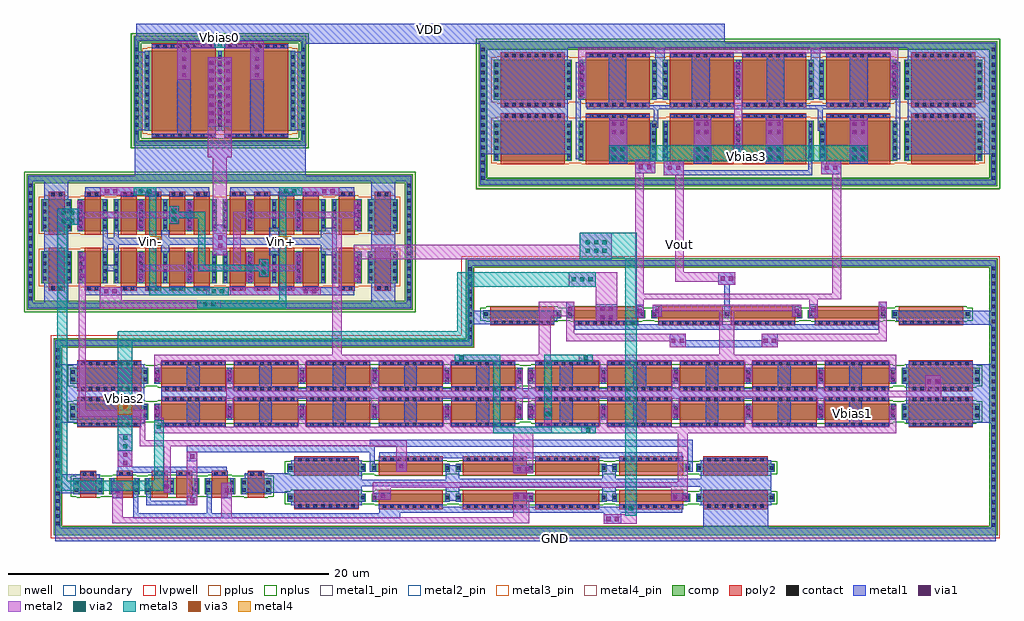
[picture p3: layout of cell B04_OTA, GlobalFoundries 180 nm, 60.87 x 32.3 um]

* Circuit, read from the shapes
.subckt B04_OTA GND VDD Vbias0 Vbias1 Vbias2 Vbias3 Vin+ Vin- Vout
XM1 GND GND GND GND nfet_03v3 w=1u l=4u m=4
XM2 GND GND GND GND nfet_03v3 w=1u l=1u m=2
XM3 n1 Vbias2 n2 GND nfet_03v3 w=1u l=1u m=2
XM4 n3 Vbias2 n4 GND nfet_03v3 w=1u l=1u m=2
XM5 GND Vbias1 n5 GND nfet_03v3 w=1u l=4u m=10
XM6 GND Vbias1 n6 GND nfet_03v3 w=1u l=4u m=10
XM7 GND GND GND GND nfet_03v3 w=0.5u l=4u m=6
XM8 GND n1 n6 GND nfet_03v3 w=0.5u l=4u m=2
XM9 GND n3 n4 GND nfet_03v3 w=0.5u l=4u m=2
XM10 n2 n1 GND GND nfet_03v3 w=0.5u l=4u m=2
XM11 n5 n3 GND GND nfet_03v3 w=0.5u l=4u m=2
XM12 n7 Vbias2 n6 GND nfet_03v3 w=0.5u l=4u m=2
XM13 Vout Vbias2 n5 GND nfet_03v3 w=0.5u l=4u m=2
XM14 VDD VDD VDD VDD pfet_03v3 w=2u l=1u m=4
XM15 n8 Vin+ n3 VDD pfet_03v3 w=2u l=1u
XM16 n8 Vin- n5 VDD pfet_03v3 w=2u l=1u m=9
XM17 n6 Vin+ n8 VDD pfet_03v3 w=2u l=1u m=9
XM18 n8 Vbias0 VDD VDD pfet_03v3 w=5u l=4u m=2
XM19 n1 Vin- n8 VDD pfet_03v3 w=2u l=1u
XM20 VDD VDD VDD VDD pfet_03v3 w=2.5u l=4u m=4
XM21 n7 Vbias3 n9 VDD pfet_03v3 w=2.5u l=4u m=2
XM22 VDD n7 n9 VDD pfet_03v3 w=2.5u l=4u m=2
XM23 n10 Vbias3 Vout VDD pfet_03v3 w=2.5u l=4u m=2
XM24 n10 n7 VDD VDD pfet_03v3 w=2.5u l=4u m=2
.ends

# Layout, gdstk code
import gdstk
lib = gdstk.Library(unit=1e-6, precision=1e-09)
def R(c, l, rs):  # rectangles x0, y0, x1, y1
    for r in rs: c.add(gdstk.rectangle(r[:2], r[2:], *l))
def A(c, l, x, y, w, h, nx, ny, dx, dy):  # array of equal rectangles
    R(c, l, [(x+i*dx, y+j*dy, x+i*dx+w, y+j*dy+h) for i in range(nx) for j in range(ny)])
boundary = (0, 0)
nwell = (21, 0)
comp = (22, 0)
poly2 = (30, 0)
pplus = (31, 0)
nplus = (32, 0)
contact = (33, 0)
metal1 = (34, 0)
metal1_pin = (34, 10)
via1 = (35, 0)
metal2 = (36, 0)
metal2_pin = (36, 10)
via2 = (38, 0)
via3 = (40, 0)
metal3 = (42, 0)
metal3_pin = (42, 10)
metal4 = (46, 0)
metal4_pin = (46, 10)
lvpwell = (204, 0)

nfet_03v3_ppzgc5 = lib.new_cell('nfet_03v3_PPZGC5')
R(nfet_03v3_ppzgc5, comp, [(-2.44,-0.13,2.44,0.37)])
R(nfet_03v3_ppzgc5, poly2, [(-2,-0.59,2,0.59)])
R(nfet_03v3_ppzgc5, nplus, [(-2.23,-0.36,2.23,-0.29), (-2.6,-0.29,2.6,0.53), (-2.23,0.53,2.23,0.6)])
A(nfet_03v3_ppzgc5, contact, -1.755, -0.52, 0.22, 0.22, 8, 1, 0.47, 0)
R(nfet_03v3_ppzgc5, contact, [(-2.37,0.01,-2.15,0.23), (2.15,0.01,2.37,0.23)])
R(nfet_03v3_ppzgc5, metal1, [(-1.99,-0.525,1.99,-0.295), (-2.375,-0.12,-2.145,0.36), (2.145,-0.12,2.375,0.36)])
R(nfet_03v3_ppzgc5, lvpwell, [(-2.56,-0.71,2.56,0.71)])

nfet_03v3_2m8gy8 = lib.new_cell('nfet_03v3_2M8GY8')
R(nfet_03v3_2m8gy8, comp, [(-2.44,-0.37,2.44,0.13)])
R(nfet_03v3_2m8gy8, poly2, [(-2,-0.59,2,0.59)])
R(nfet_03v3_2m8gy8, nplus, [(-2.23,-0.6,2.23,-0.53), (-2.6,-0.53,2.6,0.29), (-2.23,0.29,2.23,0.36)])
A(nfet_03v3_2m8gy8, contact, -1.755, 0.3, 0.22, 0.22, 8, 1, 0.47, 0)
R(nfet_03v3_2m8gy8, contact, [(-2.37,-0.23,-2.15,-0.01), (2.15,-0.23,2.37,-0.01)])
R(nfet_03v3_2m8gy8, metal1, [(-2.375,-0.36,-2.145,0.12), (2.145,-0.36,2.375,0.12), (-1.99,0.295,1.99,0.525)])
R(nfet_03v3_2m8gy8, lvpwell, [(-2.56,-0.71,2.56,0.71)])

nfet_03v3_vm6bb4 = lib.new_cell('nfet_03v3_VM6BB4')
R(nfet_03v3_vm6bb4, comp, [(-0.94,-0.62,0.94,0.38)])
R(nfet_03v3_vm6bb4, poly2, [(-0.5,-0.84,0.5,0.84)])
R(nfet_03v3_vm6bb4, nplus, [(-0.73,-0.85,0.73,-0.78), (-1.1,-0.78,1.1,0.54), (-0.73,0.54,0.73,0.61)])
R(nfet_03v3_vm6bb4, contact, [(-0.87,-0.465,-0.65,-0.245), (0.65,-0.465,0.87,-0.245), (-0.87,0.005,-0.65,0.225), (0.65,0.005,0.87,0.225), (-0.345,0.55,-0.125,0.77), (0.125,0.55,0.345,0.77)])
R(nfet_03v3_vm6bb4, metal1, [(-0.875,-0.61,-0.645,0.37), (0.645,-0.61,0.875,0.37), (-0.49,0.545,0.49,0.775)])
R(nfet_03v3_vm6bb4, lvpwell, [(-1.06,-0.96,1.06,0.96)])

nfet_03v3_g6pham = lib.new_cell('nfet_03v3_G6PHAM')
R(nfet_03v3_g6pham, comp, [(-1.7,-0.62,1.7,0.38)])
R(nfet_03v3_g6pham, poly2, [(-1.26,-0.84,-0.26,0.84), (0.26,-0.84,1.26,0.84)])
R(nfet_03v3_g6pham, nplus, [(-1.49,-0.85,1.49,-0.78), (-1.86,-0.78,1.86,0.54), (-1.49,0.54,1.49,0.61)])
A(nfet_03v3_g6pham, contact, -1.63, -0.465, 0.22, 0.22, 3, 2, 1.52, 0.47)
R(nfet_03v3_g6pham, contact, [(-1.105,0.55,-0.885,0.77), (-0.635,0.55,-0.415,0.77), (0.415,0.55,0.635,0.77), (0.885,0.55,1.105,0.77)])
A(nfet_03v3_g6pham, metal1, -1.635, -0.61, 0.23, 0.98, 3, 1, 1.52, 0)
R(nfet_03v3_g6pham, metal1, [(-1.25,0.545,-0.27,0.775), (0.27,0.545,1.25,0.775)])
R(nfet_03v3_g6pham, lvpwell, [(-1.82,-0.96,1.82,0.96)])

nfet_03v3_9bm8l2 = lib.new_cell('nfet_03v3_9BM8L2')
R(nfet_03v3_9bm8l2, comp, [(-11.48,-0.5,11.48,0.5)])
A(nfet_03v3_9bm8l2, poly2, -11.04, -0.96, 4, 1.92, 5, 1, 4.52, 0)
R(nfet_03v3_9bm8l2, nplus, [(-11.27,-0.73,11.27,-0.66), (-11.64,-0.66,11.64,0.66), (-11.27,0.66,11.27,0.73)])
A(nfet_03v3_9bm8l2, contact, -10.795, -0.89, 0.22, 0.22, 8, 2, 0.47, 1.56)
A(nfet_03v3_9bm8l2, contact, -6.275, -0.89, 0.22, 0.22, 8, 2, 0.47, 1.56)
A(nfet_03v3_9bm8l2, contact, -1.755, -0.89, 0.22, 0.22, 8, 2, 0.47, 1.56)
A(nfet_03v3_9bm8l2, contact, 2.765, -0.89, 0.22, 0.22, 8, 2, 0.47, 1.56)
A(nfet_03v3_9bm8l2, contact, 7.285, -0.89, 0.22, 0.22, 8, 2, 0.47, 1.56)
A(nfet_03v3_9bm8l2, contact, -11.41, -0.345, 0.22, 0.22, 6, 2, 4.52, 0.47)
A(nfet_03v3_9bm8l2, metal1, -11.03, -0.895, 3.98, 0.23, 5, 2, 4.52, 1.56)
A(nfet_03v3_9bm8l2, metal1, -11.415, -0.49, 0.23, 0.98, 6, 1, 4.52, 0)
R(nfet_03v3_9bm8l2, lvpwell, [(-11.6,-1.08,11.6,1.08)])

nfet_03v3_yszrfl = lib.new_cell('nfet_03v3_YSZRFL')
R(nfet_03v3_yszrfl, comp, [(-2.44,-0.5,2.44,0.5)])
R(nfet_03v3_yszrfl, poly2, [(-2,-0.96,2,0.96)])
R(nfet_03v3_yszrfl, nplus, [(-2.23,-0.73,2.23,-0.66), (-2.6,-0.66,2.6,0.66), (-2.23,0.66,2.23,0.73)])
A(nfet_03v3_yszrfl, contact, -1.755, -0.89, 0.22, 0.22, 8, 2, 0.47, 1.56)
R(nfet_03v3_yszrfl, contact, [(-2.37,-0.345,-2.15,-0.125), (2.15,-0.345,2.37,-0.125), (-2.37,0.125,-2.15,0.345), (2.15,0.125,2.37,0.345)])
R(nfet_03v3_yszrfl, metal1, [(-1.99,-0.895,1.99,-0.665), (-2.375,-0.49,-2.145,0.49), (2.145,-0.49,2.375,0.49), (-1.99,0.665,1.99,0.895)])
R(nfet_03v3_yszrfl, lvpwell, [(-2.56,-1.08,2.56,1.08)])

nfet_03v3_5x72ug = lib.new_cell('nfet_03v3_5X72UG')
R(nfet_03v3_5x72ug, comp, [(-4.7,-0.13,4.7,0.37)])
R(nfet_03v3_5x72ug, poly2, [(-4.26,-0.59,-0.26,0.59), (0.26,-0.59,4.26,0.59)])
R(nfet_03v3_5x72ug, nplus, [(-4.49,-0.36,4.49,-0.29), (-4.86,-0.29,4.86,0.53), (-4.49,0.53,4.49,0.6)])
A(nfet_03v3_5x72ug, contact, -4.015, -0.52, 0.22, 0.22, 8, 1, 0.47, 0)
A(nfet_03v3_5x72ug, contact, 0.505, -0.52, 0.22, 0.22, 8, 1, 0.47, 0)
A(nfet_03v3_5x72ug, contact, -4.63, 0.01, 0.22, 0.22, 3, 1, 4.52, 0)
A(nfet_03v3_5x72ug, metal1, -4.635, -0.12, 0.23, 0.48, 3, 1, 4.52, 0)
R(nfet_03v3_5x72ug, metal1, [(-4.25,-0.525,-0.27,-0.295), (0.27,-0.525,4.25,-0.295)])
R(nfet_03v3_5x72ug, lvpwell, [(-4.82,-0.71,4.82,0.71)])

nfet_03v3_vdkk2u = lib.new_cell('nfet_03v3_VDKK2U')
R(nfet_03v3_vdkk2u, comp, [(-4.7,-0.37,4.7,0.13)])
R(nfet_03v3_vdkk2u, poly2, [(-4.26,-0.59,-0.26,0.59), (0.26,-0.59,4.26,0.59)])
R(nfet_03v3_vdkk2u, nplus, [(-4.49,-0.6,4.49,-0.53), (-4.86,-0.53,4.86,0.29), (-4.49,0.29,4.49,0.36)])
A(nfet_03v3_vdkk2u, contact, -4.63, -0.23, 0.22, 0.22, 3, 1, 4.52, 0)
A(nfet_03v3_vdkk2u, contact, -4.015, 0.3, 0.22, 0.22, 8, 1, 0.47, 0)
A(nfet_03v3_vdkk2u, contact, 0.505, 0.3, 0.22, 0.22, 8, 1, 0.47, 0)
A(nfet_03v3_vdkk2u, metal1, -4.635, -0.36, 0.23, 0.48, 3, 1, 4.52, 0)
R(nfet_03v3_vdkk2u, metal1, [(-4.25,0.295,-0.27,0.525), (0.27,0.295,4.25,0.525)])
R(nfet_03v3_vdkk2u, lvpwell, [(-4.82,-0.71,4.82,0.71)])

pfet_03v3_3rycv3 = lib.new_cell('pfet_03v3_3RYCV3')
R(pfet_03v3_3rycv3, nwell, [(-1.37,-1.77,1.37,1.77)])
R(pfet_03v3_3rycv3, comp, [(-0.94,-0.88,0.94,1.12)])
R(pfet_03v3_3rycv3, poly2, [(-0.5,-1.34,0.5,1.34)])
R(pfet_03v3_3rycv3, pplus, [(-0.73,-1.11,0.73,-1.04), (-1.1,-1.04,1.1,1.28), (-0.73,1.28,0.73,1.35)])
A(pfet_03v3_3rycv3, contact, -0.87, -0.695, 0.22, 0.22, 1, 4, 0, 0.47)
A(pfet_03v3_3rycv3, contact, 0.65, -0.695, 0.22, 0.22, 1, 4, 0, 0.47)
R(pfet_03v3_3rycv3, contact, [(-0.345,-1.27,-0.125,-1.05), (0.125,-1.27,0.345,-1.05)])
R(pfet_03v3_3rycv3, metal1, [(-0.49,-1.275,0.49,-1.045), (-0.875,-0.87,-0.645,1.11), (0.645,-0.87,0.875,1.11)])

pfet_03v3_7bhpbh = lib.new_cell('pfet_03v3_7BHPBH')
R(pfet_03v3_7bhpbh, nwell, [(-3.65,-1.77,3.65,1.77)])
R(pfet_03v3_7bhpbh, comp, [(-3.22,-0.88,3.22,1.12)])
A(pfet_03v3_7bhpbh, poly2, -2.78, -1.34, 1, 2.68, 4, 1, 1.52, 0)
R(pfet_03v3_7bhpbh, pplus, [(-3.01,-1.11,3.01,-1.04), (-3.38,-1.04,3.38,1.28), (-3.01,1.28,3.01,1.35)])
A(pfet_03v3_7bhpbh, contact, -3.15, -0.695, 0.22, 0.22, 5, 4, 1.52, 0.47)
R(pfet_03v3_7bhpbh, contact, [(-2.625,-1.27,-2.405,-1.05), (-2.155,-1.27,-1.935,-1.05), (-1.105,-1.27,-0.885,-1.05), (-0.635,-1.27,-0.415,-1.05), (0.415,-1.27,0.635,-1.05), (0.885,-1.27,1.105,-1.05), (1.935,-1.27,2.155,-1.05), (2.405,-1.27,2.625,-1.05)])
A(pfet_03v3_7bhpbh, metal1, -2.77, -1.275, 0.98, 0.23, 4, 1, 1.52, 0)
A(pfet_03v3_7bhpbh, metal1, -3.155, -0.87, 0.23, 1.98, 5, 1, 1.52, 0)

pfet_03v3_luvhy6 = lib.new_cell('pfet_03v3_LUVHY6')
R(pfet_03v3_luvhy6, nwell, [(-1.37,-1.77,1.37,1.77)])
R(pfet_03v3_luvhy6, comp, [(-0.94,-1.12,0.94,0.88)])
R(pfet_03v3_luvhy6, poly2, [(-0.5,-1.34,0.5,1.34)])
R(pfet_03v3_luvhy6, pplus, [(-0.73,-1.35,0.73,-1.28), (-1.1,-1.28,1.1,1.04), (-0.73,1.04,0.73,1.11)])
A(pfet_03v3_luvhy6, contact, -0.87, -0.935, 0.22, 0.22, 1, 4, 0, 0.47)
A(pfet_03v3_luvhy6, contact, 0.65, -0.935, 0.22, 0.22, 1, 4, 0, 0.47)
R(pfet_03v3_luvhy6, contact, [(-0.345,1.05,-0.125,1.27), (0.125,1.05,0.345,1.27)])
R(pfet_03v3_luvhy6, metal1, [(-0.875,-1.11,-0.645,0.87), (0.645,-1.11,0.875,0.87), (-0.49,1.045,0.49,1.275)])

pfet_03v3_zcvgy6 = lib.new_cell('pfet_03v3_ZCVGY6')
R(pfet_03v3_zcvgy6, nwell, [(-3.65,-1.77,3.65,1.77)])
R(pfet_03v3_zcvgy6, comp, [(-3.22,-1.12,3.22,0.88)])
A(pfet_03v3_zcvgy6, poly2, -2.78, -1.34, 1, 2.68, 4, 1, 1.52, 0)
R(pfet_03v3_zcvgy6, pplus, [(-3.01,-1.35,3.01,-1.28), (-3.38,-1.28,3.38,1.04), (-3.01,1.04,3.01,1.11)])
A(pfet_03v3_zcvgy6, contact, -3.15, -0.935, 0.22, 0.22, 5, 4, 1.52, 0.47)
R(pfet_03v3_zcvgy6, contact, [(-2.625,1.05,-2.405,1.27), (-2.155,1.05,-1.935,1.27), (-1.105,1.05,-0.885,1.27), (-0.635,1.05,-0.415,1.27), (0.415,1.05,0.635,1.27), (0.885,1.05,1.105,1.27), (1.935,1.05,2.155,1.27), (2.405,1.05,2.625,1.27)])
A(pfet_03v3_zcvgy6, metal1, -3.155, -1.11, 0.23, 1.98, 5, 1, 1.52, 0)
A(pfet_03v3_zcvgy6, metal1, -2.77, 1.045, 0.98, 0.23, 4, 1, 1.52, 0)

pfet_03v3_e72zaa = lib.new_cell('pfet_03v3_E72ZAA')
R(pfet_03v3_e72zaa, nwell, [(-2.87,-2.02,2.87,2.02)])
R(pfet_03v3_e72zaa, comp, [(-2.44,-1.37,2.44,1.13)])
R(pfet_03v3_e72zaa, poly2, [(-2,-1.59,2,1.59)])
R(pfet_03v3_e72zaa, pplus, [(-2.23,-1.6,2.23,-1.53), (-2.6,-1.53,2.6,1.29), (-2.23,1.29,2.23,1.36)])
A(pfet_03v3_e72zaa, contact, -2.37, -1.17, 0.22, 0.22, 1, 5, 0, 0.47)
A(pfet_03v3_e72zaa, contact, 2.15, -1.17, 0.22, 0.22, 1, 5, 0, 0.47)
A(pfet_03v3_e72zaa, contact, -1.755, 1.3, 0.22, 0.22, 8, 1, 0.47, 0)
R(pfet_03v3_e72zaa, metal1, [(-2.375,-1.36,-2.145,1.12), (2.145,-1.36,2.375,1.12), (-1.99,1.295,1.99,1.525)])

pfet_03v3_mw6kh8 = lib.new_cell('pfet_03v3_MW6KH8')
R(pfet_03v3_mw6kh8, nwell, [(-5.13,-2.02,5.13,2.02)])
R(pfet_03v3_mw6kh8, comp, [(-4.7,-1.37,4.7,1.13)])
R(pfet_03v3_mw6kh8, poly2, [(-4.26,-1.59,-0.26,1.59), (0.26,-1.59,4.26,1.59)])
R(pfet_03v3_mw6kh8, pplus, [(-4.49,-1.6,4.49,-1.53), (-4.86,-1.53,4.86,1.29), (-4.49,1.29,4.49,1.36)])
A(pfet_03v3_mw6kh8, contact, -4.63, -1.17, 0.22, 0.22, 3, 5, 4.52, 0.47)
A(pfet_03v3_mw6kh8, contact, -4.015, 1.3, 0.22, 0.22, 8, 1, 0.47, 0)
A(pfet_03v3_mw6kh8, contact, 0.505, 1.3, 0.22, 0.22, 8, 1, 0.47, 0)
A(pfet_03v3_mw6kh8, metal1, -4.635, -1.36, 0.23, 2.48, 3, 1, 4.52, 0)
R(pfet_03v3_mw6kh8, metal1, [(-4.25,1.295,-0.27,1.525), (0.27,1.295,4.25,1.525)])

pfet_03v3_4cd8mr = lib.new_cell('pfet_03v3_4CD8MR')
R(pfet_03v3_4cd8mr, boundary, [(-5.21,-3.25,5.21,3.25)])
R(pfet_03v3_4cd8mr, nwell, [(-5.51,-3.55,5.51,3.55)])
R(pfet_03v3_4cd8mr, comp, [(-5.39,-3.43,5.39,-3.07), (-5.39,-3.07,-5.03,3.07), (5.03,-3.07,5.39,3.07), (-4.7,-2.5,4.7,2.5), (-5.39,3.07,5.39,3.43)])
R(pfet_03v3_4cd8mr, poly2, [(-4.26,-2.96,-0.26,2.96), (0.26,-2.96,4.26,2.96)])
R(pfet_03v3_4cd8mr, pplus, [(-4.49,-2.73,4.49,-2.66), (-4.86,-2.66,4.86,2.66), (-4.49,2.66,4.49,2.73)])
R(pfet_03v3_4cd8mr, nplus, [(-5.55,-3.59,5.55,-2.96), (-5.55,-2.96,-4.92,2.96), (4.92,-2.96,5.55,2.96), (-5.55,2.96,5.55,3.59)])
A(pfet_03v3_4cd8mr, contact, -4.015, -2.89, 0.22, 0.22, 8, 2, 0.47, 5.56)
A(pfet_03v3_4cd8mr, contact, 0.505, -2.89, 0.22, 0.22, 8, 2, 0.47, 5.56)
A(pfet_03v3_4cd8mr, contact, -5.32, -2.695, 0.22, 0.22, 1, 12, 0, 0.47)
A(pfet_03v3_4cd8mr, contact, 5.1, -2.695, 0.22, 0.22, 1, 12, 0, 0.47)
A(pfet_03v3_4cd8mr, contact, -4.63, -2.225, 0.22, 0.22, 3, 10, 4.52, 0.47)
A(pfet_03v3_4cd8mr, metal1, -4.635, -2.49, 0.23, 4.98, 3, 1, 4.52, 0)
R(pfet_03v3_4cd8mr, metal1, [(-5.325,-3.365,5.325,-3.135), (-5.325,-3.135,-5.095,3.135), (5.095,-3.135,5.325,3.135), (-4.25,-2.895,-0.27,-2.665), (0.27,-2.895,4.25,-2.665), (-4.25,2.665,-0.27,2.895), (0.27,2.665,4.25,2.895), (-5.325,3.135,5.325,3.365)])

pfet_03v3_yeehvg = lib.new_cell('pfet_03v3_YEEHVG')
R(pfet_03v3_yeehvg, nwell, [(-2.87,-2.14,2.87,2.14)])
R(pfet_03v3_yeehvg, comp, [(-2.44,-1.25,2.44,1.25)])
R(pfet_03v3_yeehvg, poly2, [(-2,-1.71,2,1.71)])
R(pfet_03v3_yeehvg, pplus, [(-2.23,-1.48,2.23,-1.41), (-2.6,-1.41,2.6,1.41), (-2.23,1.41,2.23,1.48)])
A(pfet_03v3_yeehvg, contact, -1.755, -1.64, 0.22, 0.22, 8, 2, 0.47, 3.06)
A(pfet_03v3_yeehvg, contact, -2.37, -1.05, 0.22, 0.22, 1, 5, 0, 0.47)
A(pfet_03v3_yeehvg, contact, 2.15, -1.05, 0.22, 0.22, 1, 5, 0, 0.47)
R(pfet_03v3_yeehvg, metal1, [(-1.99,-1.645,1.99,-1.415), (-2.375,-1.24,-2.145,1.24), (2.145,-1.24,2.375,1.24), (-1.99,1.415,1.99,1.645)])

pfet_03v3_t4493g = lib.new_cell('pfet_03v3_T4493G')
R(pfet_03v3_t4493g, nwell, [(-5.13,-2.14,5.13,2.14)])
R(pfet_03v3_t4493g, comp, [(-4.7,-1.25,4.7,1.25)])
R(pfet_03v3_t4493g, poly2, [(-4.26,-1.71,-0.26,1.71), (0.26,-1.71,4.26,1.71)])
R(pfet_03v3_t4493g, pplus, [(-4.49,-1.48,4.49,-1.41), (-4.86,-1.41,4.86,1.41), (-4.49,1.41,4.49,1.48)])
A(pfet_03v3_t4493g, contact, -4.015, -1.64, 0.22, 0.22, 8, 2, 0.47, 3.06)
A(pfet_03v3_t4493g, contact, 0.505, -1.64, 0.22, 0.22, 8, 2, 0.47, 3.06)
A(pfet_03v3_t4493g, contact, -4.63, -1.05, 0.22, 0.22, 3, 5, 4.52, 0.47)
A(pfet_03v3_t4493g, metal1, -4.635, -1.24, 0.23, 2.48, 3, 1, 4.52, 0)
R(pfet_03v3_t4493g, metal1, [(-4.25,-1.645,-0.27,-1.415), (0.27,-1.645,4.25,-1.415), (-4.25,1.415,-0.27,1.645), (0.27,1.415,4.25,1.645)])

b04_ota = lib.new_cell('B04_OTA')
R(b04_ota, nwell, [(-0.3,-12.2,24.1,-3.45), (27.85,-4.55,60.55,4.85), (16.9,-1.15,16.965,5.15)])
R(b04_ota, comp, [(1.55,-26.1,60.4,-25.55), (1.55,-25.55,2.05,-14.4), (59.9,-25.55,60.4,-9.4), (1.55,-14.4,27.75,-13.85), (27.25,-13.85,27.75,-9.4), (-0.15,-12.05,23.95,-11.5), (-0.15,-11.5,0.35,-4.15), (23.45,-11.5,23.95,-4.15), (27.25,-9.4,60.4,-8.85), (28.05,-4.35,60.4,-3.85), (-0.15,-4.15,23.95,-3.6), (28.05,-3.85,28.55,4.2), (59.9,-3.85,60.4,4.2), (28.05,4.2,60.4,4.7)])
R(b04_ota, pplus, [(1.53,-26.12,60.42,-25.53), (1.53,-25.53,2.07,-14.42), (59.88,-25.53,60.42,-9.42), (1.53,-14.42,27.77,-13.83), (27.23,-13.83,27.77,-9.42), (2.82,-10.57,2.87,-8.25), (5.07,-10.57,5.12,-8.25), (11.88,-10.57,11.92,-8.25), (18.68,-10.57,18.72,-8.25), (20.92,-10.57,20.97,-8.25), (27.23,-9.42,60.42,-8.83), (5.07,-7.315,5.12,-4.995), (2.82,-7.31,2.87,-4.995), (11.88,-7.31,11.92,-4.995), (18.68,-7.31,18.72,-4.99), (20.92,-7.31,20.97,-4.99), (34.02,-2.91,34.12,-0.09), (39.32,-2.91,39.37,-0.09), (49.09,-2.91,49.12,-0.09), (54.32,-2.91,54.42,-0.09), (34.02,0.88,34.12,3.7), (39.32,0.88,39.37,3.7), (49.09,0.88,49.12,3.7), (54.32,0.88,54.42,3.7)])
R(b04_ota, nplus, [(21.16,-24.18,21.21,-23.36), (26.41,-24.18,26.46,-23.36), (36.18,-24.18,36.21,-23.36), (41.41,-24.18,41.46,-23.36), (4.81,-23.72,4.86,-22.4), (10.78,-23.72,10.81,-22.4), (13.01,-23.72,13.06,-22.4), (21.16,-22.32,21.21,-21.5), (26.41,-22.32,26.46,-21.5), (36.18,-22.32,36.21,-21.5), (41.41,-22.32,41.46,-21.5), (7.61,-19.08,7.66,-17.76), (30.94,-19.08,30.96,-17.76), (54.24,-19.08,54.26,-17.76), (7.61,-16.83,7.66,-15.51), (30.94,-16.83,30.96,-15.51), (54.24,-16.83,54.26,-15.51), (33.36,-12.73,33.41,-11.91), (38.61,-12.73,38.66,-11.91), (48.38,-12.73,48.41,-11.91), (53.61,-12.73,53.66,-11.91), (-0.31,-12.21,24.11,-11.48), (-0.31,-11.48,0.37,-4.17), (23.43,-11.48,24.11,-4.17), (27.89,-4.51,60.56,-3.83), (-0.31,-4.17,24.11,-3.44), (27.89,-3.83,28.57,4.18), (59.88,-3.83,60.56,4.18), (27.89,4.18,60.56,4.86)])
A(b04_ota, contact, 60.04, -25.575, 0.22, 0.22, 1, 35, 0, 0.47)
A(b04_ota, contact, 1.69, -25.49, 0.22, 0.22, 1, 24, 0, 0.47)
A(b04_ota, contact, 27.39, -13.85, 0.22, 0.22, 1, 10, 0, 0.47)
A(b04_ota, contact, -0.01, -11.46, 0.22, 0.22, 1, 16, 0, 0.47)
A(b04_ota, contact, 23.59, -11.46, 0.22, 0.22, 1, 16, 0, 0.47)
A(b04_ota, contact, 28.19, -3.93, 0.22, 0.22, 1, 18, 0, 0.47)
A(b04_ota, contact, 60.04, -3.93, 0.22, 0.22, 1, 18, 0, 0.47)
A(b04_ota, metal1, 37.7, -19.25, 0.8, 1.65, 3, 1, 4.5, 0)
A(b04_ota, metal1, 7.8, -18.8, 0.45, 0.75, 3, 2, 4.5, 2.25)
A(b04_ota, metal1, 21.35, -18.8, 0.45, 0.75, 3, 2, 4.5, 2.25)
A(b04_ota, metal1, 44.65, -18.8, 0.45, 0.75, 3, 2, 4.5, 2.25)
A(b04_ota, metal1, 37.7, -16.95, 0.8, 1.6, 3, 1, 4.5, 0)
R(b04_ota, metal1, [(1.65,-26.5,60.3,-25.65), (1.65,-25.65,1.95,-23.5), (42.05,-25.65,46.1,-24.25), (60,-25.65,60.3,-19.1), (35.85,-25.4,36.95,-24.7), (6.5,-25.05,23.15,-24.75), (6.5,-24.75,6.8,-22.75), (11.1,-24.75,11.4,-22.75), (21.85,-24.75,23.15,-24.7), (21.85,-24.7,40.75,-24.35), (7.3,-24.25,10.5,-23.95), (16.35,-24.25,20.75,-23.6), (41.9,-24.25,46.3,-23.1), (7.3,-23.95,7.6,-23.05), (9.85,-23.95,10.5,-23.65), (26,-23.95,26.85,-23.1), (30.2,-23.95,31.45,-23.45), (35.75,-23.95,36.6,-23.1), (40.05,-23.95,41.1,-23.5), (21.45,-23.9,22.55,-23.45), (5.2,-23.8,5.85,-22.85), (12,-23.8,12.65,-22.85), (10.2,-23.65,10.5,-23.05), (16.15,-23.6,20.75,-23.45), (1.65,-23.5,4.4,-22.3), (8.4,-23.45,8.85,-22.7), (13.45,-23.45,20.75,-23.05), (26,-23.1,46.3,-23.05), (13.45,-23.05,46.3,-22.65), (13.45,-22.65,20.75,-22.25), (26,-22.65,46.3,-22.6), (26,-22.6,26.85,-21.75), (35.75,-22.6,36.6,-21.75), (41.9,-22.6,46.3,-21.45), (1.65,-22.3,1.95,-19.1), (16.15,-22.25,20.75,-22.1), (30.2,-22.25,31.45,-21.75), (5.55,-22.2,12.35,-21.85), (21.25,-22.15,21.55,-20.95), (22.9,-22.15,23.55,-21.3), (41.1,-22.15,41.4,-20.6), (16.35,-22.1,20.75,-21.45), (5.55,-21.85,6.45,-20.85), (9.85,-21.5,10.5,-20.95), (21.85,-21.3,40.75,-20.95), (9.85,-20.95,21.55,-20.6), (9.85,-20.6,41.4,-20.5), (21.25,-20.5,41.4,-20.15), (9.85,-19.25,10.65,-17.6), (14.35,-19.25,15.15,-17.6), (18.95,-19.25,19.75,-17.6), (23.4,-19.25,24.2,-17.6), (27.9,-19.25,28.7,-17.6), (33.1,-19.25,33.9,-17.6), (51.15,-19.25,51.95,-17.6), (1.65,-19.1,7.2,-15.45), (54.7,-19.1,60.3,-15.45), (31.15,-18.8,31.6,-18.05), (35.6,-18.8,36.05,-18.05), (40.1,-18.8,40.55,-18.05), (8.25,-17.6,53.6,-16.95), (9.85,-16.95,10.65,-15.35), (14.35,-16.95,15.15,-15.35), (18.95,-16.95,19.75,-15.35), (23.4,-16.95,24.2,-15.35), (27.9,-16.95,28.7,-15.35), (33.1,-16.95,33.9,-15.35), (51.15,-16.95,51.95,-15.35), (31.15,-16.55,31.6,-15.8), (35.6,-16.55,36.05,-15.8), (40.1,-16.55,40.55,-15.8), (1.65,-15.45,1.95,-14.3), (60,-15.45,60.3,-13), (39.95,-14.4,46.7,-13.95), (1.65,-14.3,27.65,-13.95), (27.35,-13.95,27.65,-12.95), (39.95,-13.95,40.95,-13.55), (45.7,-13.95,46.7,-13.55), (34.05,-13.3,53,-12.95), (58.15,-13,60.3,-12.75), (27.35,-12.95,29,-12.75), (35.35,-12.8,36.7,-11.7), (27.35,-12.75,32.95,-12.1), (54.1,-12.75,60.3,-12.1), (37.8,-12.5,38.35,-11.75), (38.9,-12.5,39.45,-11.75), (47.6,-12.5,48.15,-11.75), (48.65,-12.5,48.95,-12.45), (33.5,-12.45,34,-11.55), (43.35,-12.45,43.7,-10.5), (48.65,-12.45,49.2,-11.7), (53,-12.45,53.5,-11.55), (27.35,-12.1,27.65,-9.3), (60,-12.1,60.3,-9.3), (-0.05,-11.95,23.85,-11.6), (-0.05,-11.6,0.25,-4.05), (0.95,-11.6,2.45,-4.05), (21.35,-11.6,22.85,-4.05), (23.55,-11.6,23.85,-4.05), (3.5,-11.15,11.25,-10.65), (12.55,-11.15,20.3,-10.65), (43,-10.5,44.05,-9.7), (3.2,-10.3,3.55,-10.2), (6.75,-10.3,7.2,-8.5), (9.8,-10.3,10.25,-8.5), (13.55,-10.3,14,-8.5), (16.6,-10.3,17.05,-8.5), (20.25,-10.3,20.7,-8.5), (3.15,-10.2,3.55,-8.6), (4.8,-9.65,5.45,-9.25), (27.35,-9.3,60.3,-8.95), (11.45,-8.65,12.35,-8), (15,-8.65,15.65,-8), (18.4,-8.65,19.05,-8.45), (3.2,-8.6,3.55,-8.5), (4.6,-8.45,4.9,-8), (5.3,-8.45,5.6,-8), (8.25,-8.45,8.75,-8), (18.2,-8.45,19.2,-8), (4.6,-8,19.2,-7.55), (4.6,-7.55,4.9,-7.1), (5.3,-7.55,5.6,-7.1), (8.25,-7.55,8.75,-7.1), (11.45,-7.55,12.35,-6.75), (15,-7.55,15.65,-6.95), (18.2,-7.55,19.2,-7.1), (18.4,-7.1,19.05,-6.95), (3,-7.05,3.45,-5.25), (6.75,-7.05,7.2,-5.25), (9.8,-7.05,10.25,-5.25), (13.55,-7.05,14,-5.25), (16.6,-7.05,17.05,-5.25), (20.25,-7.05,20.7,-5.25), (4.75,-6.35,5.4,-5.95), (3.5,-4.9,11.25,-4.4), (12.55,-4.9,20.3,-4.4), (28.15,-4.25,60.3,-3.95), (-0.05,-4.05,23.85,-3.7), (28.15,-3.95,28.45,-2.35), (60,-3.95,60.3,-2.35), (6.6,-3.7,17.25,-1.7), (39.6,-3.65,48.85,-3.35), (49.4,-3.6,50.65,-2.8), (37.8,-3.55,39.05,-2.7), (39.6,-3.35,40.85,-2.8), (48.6,-3.35,48.85,-2.4), (36.2,-2.95,37.3,0), (41.45,-2.95,42.55,0), (45.95,-2.95,47.05,0), (51.2,-2.95,52.3,0), (39.6,-2.8,39.85,-2.45), (49.35,-2.8,50.65,-2.75), (49.35,-2.75,49.65,-0.9), (38.75,-2.7,39.05,-0.7), (34.1,-2.65,34.4,1.15), (44,-2.65,44.5,-0.4), (54.05,-2.65,54.35,1.15), (28.15,-2.35,33.6,4.3), (54.8,-2.35,60.3,4.3), (9.25,-1.25,10.1,4.45), (13.8,-1.25,14.65,4.45), (49.2,-0.9,49.65,-0.35), (6.65,-0.85,7.35,4.05), (16.4,-0.85,17.1,4.05), (38.75,-0.7,39.25,-0.4), (11.15,-0.65,12.65,3.7), (38.95,-0.4,39.25,0.45), (49.2,-0.35,49.5,0.45), (34.8,0.45,53.6,0.7), (41.35,0.7,42.45,3.8), (46,0.7,47.1,3.8), (36.15,0.75,37.25,3.85), (51.2,0.75,52.3,3.85), (39.05,1.1,39.65,4.3), (48.75,1.1,49.35,4.3), (34.1,1.15,34.75,3.4), (44,1.15,44.5,3.4), (53.7,1.15,54.35,3.4), (28.15,4.3,60.3,4.55), (17.1,4.55,60.3,4.6), (17.1,4.6,43.4,4.8), (6.7,4.8,43.4,5.8)])
R(b04_ota, metal1_pin, [(32.55,-26.45,33.15,-26.2), (51.3,-18.55,51.45,-18.45), (24.7,5.3,25.3,5.55)])
A(b04_ota, via1, 7.895, -18.555, 0.26, 0.26, 3, 2, 4.5, 2.25)
A(b04_ota, via1, 21.445, -18.555, 0.26, 0.26, 3, 2, 4.5, 2.25)
A(b04_ota, via1, 44.745, -18.555, 0.26, 0.26, 3, 2, 4.5, 2.25)
A(b04_ota, via1, 3.195, -10.05, 0.26, 0.26, 1, 3, 0, 0.52)
A(b04_ota, via1, 6.845, -10.05, 0.26, 0.26, 1, 3, 0, 0.52)
A(b04_ota, via1, 9.895, -10.05, 0.26, 0.26, 1, 3, 0, 0.52)
A(b04_ota, via1, 13.645, -10.05, 0.26, 0.26, 1, 3, 0, 0.52)
A(b04_ota, via1, 16.695, -10.05, 0.26, 0.26, 1, 3, 0, 0.52)
A(b04_ota, via1, 20.345, -10.05, 0.26, 0.26, 1, 3, 0, 0.52)
A(b04_ota, via1, 3.095, -6.8, 0.26, 0.26, 1, 3, 0, 0.52)
A(b04_ota, via1, 6.845, -6.8, 0.26, 0.26, 1, 3, 0, 0.52)
A(b04_ota, via1, 9.895, -6.8, 0.26, 0.26, 1, 3, 0, 0.52)
A(b04_ota, via1, 13.645, -6.8, 0.26, 0.26, 1, 3, 0, 0.52)
A(b04_ota, via1, 16.695, -6.8, 0.26, 0.26, 1, 3, 0, 0.52)
A(b04_ota, via1, 20.345, -6.8, 0.26, 0.26, 1, 3, 0, 0.52)
A(b04_ota, via1, 44.095, -2.46, 0.26, 0.26, 1, 4, 0, 0.52)
A(b04_ota, via1, 11.25, -0.425, 0.26, 0.26, 3, 8, 0.52, 0.52)
A(b04_ota, via1, 34.37, 1.34, 0.26, 0.26, 1, 4, 0, 0.52)
A(b04_ota, via1, 44.095, 1.39, 0.26, 0.26, 1, 4, 0, 0.52)
A(b04_ota, via1, 53.82, 1.39, 0.26, 0.26, 1, 4, 0, 0.52)
A(b04_ota, via1, 9.545, 2.44, 0.26, 0.26, 1, 4, 0, 0.52)
A(b04_ota, via1, 14.095, 2.44, 0.26, 0.26, 1, 4, 0, 0.52)
R(b04_ota, via1, [(36.01,-25.23,36.27,-24.97), (36.53,-25.23,36.79,-24.97), (10.045,-24.08,10.305,-23.82), (40.185,-23.855,40.445,-23.595), (40.705,-23.855,40.965,-23.595), (30.31,-23.83,30.57,-23.57), (30.83,-23.83,31.09,-23.57), (21.945,-23.805,22.205,-23.545), (5.395,-23.455,5.655,-23.195), (12.195,-23.455,12.455,-23.195), (8.47,-23.205,8.73,-22.945), (30.435,-22.13,30.695,-21.87), (30.955,-22.13,31.215,-21.87), (23.095,-21.93,23.355,-21.67), (5.87,-21.74,6.13,-21.48), (10.045,-21.33,10.305,-21.07), (5.87,-21.22,6.13,-20.96), (31.245,-18.555,31.505,-18.295), (35.695,-18.555,35.955,-18.295), (40.195,-18.555,40.455,-18.295), (56.01,-16.655,56.27,-16.395), (56.53,-16.655,56.79,-16.395), (31.245,-16.305,31.505,-16.045), (35.695,-16.305,35.955,-16.045), (40.195,-16.305,40.455,-16.045), (40.06,-14.105,40.32,-13.845), (40.58,-14.105,40.84,-13.845), (45.81,-14.105,46.07,-13.845), (46.33,-14.105,46.59,-13.845), (35.635,-12.64,35.895,-12.38), (36.155,-12.64,36.415,-12.38), (37.945,-12.255,38.205,-11.995), (39.045,-12.255,39.305,-11.995), (47.745,-12.255,48.005,-11.995), (48.795,-12.205,49.055,-11.945), (33.62,-12.13,33.88,-11.87), (53.12,-12.13,53.38,-11.87), (35.635,-12.12,35.895,-11.86), (36.155,-12.12,36.415,-11.86), (4.685,-11.03,4.945,-10.77), (5.205,-11.03,5.465,-10.77), (17.135,-11.03,17.395,-10.77), (17.655,-11.03,17.915,-10.77), (43.135,-10.23,43.395,-9.97), (43.655,-10.23,43.915,-9.97), (11.795,-8.19,12.055,-7.93), (11.795,-7.67,12.055,-7.41), (4.735,-4.78,4.995,-4.52), (5.255,-4.78,5.515,-4.52), (18.285,-4.78,18.545,-4.52), (18.805,-4.78,19.065,-4.52), (39.835,-3.33,40.095,-3.07), (40.355,-3.33,40.615,-3.07), (49.635,-3.33,49.895,-3.07), (50.155,-3.33,50.415,-3.07), (38.035,-3.28,38.295,-3.02), (38.555,-3.28,38.815,-3.02), (36.36,-1.09,36.62,-0.83), (36.88,-1.09,37.14,-0.83), (41.61,-1.09,41.87,-0.83), (42.13,-1.09,42.39,-0.83), (46.11,-1.09,46.37,-0.83), (46.63,-1.09,46.89,-0.83), (51.36,-1.09,51.62,-0.83), (51.88,-1.09,52.14,-0.83), (36.36,-0.57,36.62,-0.31), (36.88,-0.57,37.14,-0.31), (41.61,-0.57,41.87,-0.31), (42.13,-0.57,42.39,-0.31), (46.11,-0.57,46.37,-0.31), (46.63,-0.57,46.89,-0.31), (51.36,-0.57,51.62,-0.31), (51.88,-0.57,52.14,-0.31)])
R(b04_ota, metal2, [(35.85,-25.4,37.9,-24.8), (5.2,-25.35,31.2,-25), (5.2,-25,5.85,-22.85), (12,-25,12.65,-22.85), (30.2,-25,31.2,-23.95), (37.2,-24.8,37.9,-24), (9.85,-24.25,10.5,-20.9), (30.2,-23.95,31.45,-23.45), (40.05,-23.95,41.1,-23.15), (21.45,-23.9,22.55,-23.15), (8.4,-23.45,8.85,-20.55), (21.45,-23.15,41.1,-22.8), (40.45,-22.8,41.1,-19.75), (30.2,-22.25,31.45,-19.75), (22.9,-22.15,23.55,-20.55), (5.55,-21.85,6.45,-19.8), (6.9,-20.55,23.55,-20.2), (6.9,-20.2,7.25,-18.75), (7.8,-19.75,32.6,-19.35), (34.45,-19.75,54.1,-19.35), (7.8,-19.35,8.4,-18.8), (16.8,-19.35,17.25,-18.05), (25.85,-19.35,26.3,-18.05), (32.15,-19.35,32.6,-18.2), (35.6,-19.35,36.05,-18.05), (44.65,-19.35,45.1,-18.05), (53.65,-19.35,54.1,-18.05), (7.8,-18.8,8.25,-18.05), (12.3,-18.8,12.75,-17.5), (21.35,-18.8,21.8,-17.5), (30.35,-18.8,30.8,-17.5), (31.15,-18.8,31.6,-17.5), (40.1,-18.8,40.55,-17.5), (49.15,-18.8,49.6,-17.5), (3.1,-18.75,7.25,-18.3), (3.1,-18.3,3.55,-8.5), (12.3,-17.5,56.9,-17.1), (12.3,-17.1,12.75,-15.8), (21.35,-17.1,21.8,-15.8), (30.35,-17.1,30.8,-15.8), (31.15,-17.1,31.6,-15.8), (40.1,-17.1,40.55,-15.8), (49.15,-17.1,49.6,-15.8), (55.9,-17.1,56.9,-16.15), (7.8,-16.55,8.25,-15.25), (16.8,-16.55,17.25,-15.25), (25.85,-16.55,26.3,-15.25), (35.6,-16.55,36.05,-15.25), (44.65,-16.55,45.1,-15.25), (53.65,-16.55,54.1,-15.25), (7.8,-15.25,32.55,-14.85), (34.3,-15.25,54.1,-14.85), (18.9,-14.85,19.5,-6.35), (31.8,-14.85,32.55,-12.45), (43.05,-14.85,44,-12.15), (39.95,-14.4,40.95,-14), (45.7,-14.4,46.7,-14), (33.5,-14,40.95,-13.55), (45.7,-14,53.5,-13.55), (33.5,-13.55,34,-12.45), (53,-13.55,53.5,-11.55), (35.35,-12.75,36.7,-10.6), (37.8,-12.55,38.35,-11.4), (48.65,-12.55,49.2,-11.4), (38.9,-12.5,39.45,-12.15), (47.6,-12.5,48.15,-12.15), (31.8,-12.45,34,-11.55), (38.9,-12.15,48.15,-11.75), (4.4,-11.95,11.95,-11.45), (4.4,-11.45,5.8,-10.65), (37.8,-11.4,50.65,-11.05), (11.05,-11.15,18.2,-10.65), (37.8,-11.05,38.35,-3.55), (50.1,-11.05,50.65,-3.6), (33.65,-10.6,36.7,-9.7), (43,-10.5,44.05,-10.3), (6.75,-10.3,7.2,-9.65), (9.8,-10.3,10.25,-9.65), (13.55,-10.3,14,-9.65), (16.6,-10.3,17.05,-9.65), (20.25,-10.3,20.7,-8.9), (40.3,-10.3,44.05,-9.7), (14.35,-10,14.95,-9.65), (40.3,-9.7,40.85,-3.65), (6.75,-9.65,13.2,-9.25), (13.55,-9.65,17.05,-9.25), (6.75,-9.25,7.2,-8.5), (9.8,-9.25,10.25,-8.5), (12.75,-9.25,13.2,-6.35), (13.55,-9.25,14,-8.5), (14.35,-9.25,14.95,-8.9), (16.6,-9.25,17.05,-8.5), (20.25,-8.9,36.35,-8), (11.45,-8.65,12.35,-2.55), (34.35,-8,36.35,-7.25), (3,-7.05,3.45,-6.75), (6.75,-7.05,7.2,-6.35), (9.8,-7.05,10.25,-6.35), (13.55,-7.05,14,-6.35), (16.6,-7.05,17.05,-6.35), (20.25,-7.05,20.7,-6.35), (1.75,-6.75,3.45,-6.35), (8.75,-6.7,9.35,-6.35), (1.75,-6.35,10.25,-5.95), (12.75,-6.35,20.7,-5.95), (1.75,-5.95,3.45,-5.75), (6.75,-5.95,7.2,-5.25), (8.75,-5.95,9.35,-5.6), (9.8,-5.95,10.25,-5.25), (13.55,-5.95,14,-5.25), (16.6,-5.95,17.05,-5.25), (20.25,-5.95,20.7,-5.25), (3,-5.75,3.45,-5.25), (4.45,-4.9,7.95,-4.4), (15.6,-4.9,19.35,-4.4), (39.6,-3.65,40.85,-2.8), (49.4,-3.6,50.65,-2.75), (37.8,-3.55,39.05,-2.8), (36.2,-2.8,37.3,-0.2), (41.45,-2.8,42.55,-0.2), (45.95,-2.8,47.05,-0.2), (51.2,-2.8,52.3,-0.2), (44,-2.65,44.5,3.4), (11.15,-2.55,12.65,3.7), (34.25,1.15,34.75,3.95), (53.7,1.15,54.2,3.95), (9.25,2.3,10.1,4.3), (13.8,2.3,14.65,4.3), (34.25,3.95,54.2,4.3), (9.25,4.3,14.65,4.7)])
R(b04_ota, metal2_pin, [(40.45,-8.2,40.7,-7.8)])
A(b04_ota, via2, 33.85, -10.28, 0.26, 0.26, 3, 1, 0.52, 0)
A(b04_ota, via2, 34.725, -8.49, 0.26, 0.26, 3, 2, 0.52, 0.52)
R(b04_ota, via2, [(37.42,-24.555,37.68,-24.295), (5.87,-20.69,6.13,-20.43), (5.87,-20.17,6.13,-19.91), (34.745,-19.68,35.005,-19.42), (7.97,-19.48,8.23,-19.22), (32.245,-18.68,32.505,-18.42), (26.845,-15.18,27.105,-14.92), (34.595,-15.18,34.855,-14.92), (10.86,-11.83,11.12,-11.57), (11.38,-11.83,11.64,-11.57), (11.385,-11.03,11.645,-10.77), (11.905,-11.03,12.165,-10.77), (14.52,-9.84,14.78,-9.58), (14.52,-9.32,14.78,-9.06), (2.035,-6.64,2.295,-6.38), (2.555,-6.64,2.815,-6.38), (8.92,-6.54,9.18,-6.28), (2.035,-6.12,2.295,-5.86), (2.555,-6.12,2.815,-5.86), (8.92,-6.02,9.18,-5.76), (6.835,-4.78,7.095,-4.52), (7.355,-4.78,7.615,-4.52), (15.885,-4.78,16.145,-4.52), (16.405,-4.78,16.665,-4.52), (36.36,-2.69,36.62,-2.43), (36.88,-2.69,37.14,-2.43), (41.61,-2.69,41.87,-2.43), (42.13,-2.69,42.39,-2.43), (46.11,-2.69,46.37,-2.43), (46.63,-2.69,46.89,-2.43), (51.36,-2.69,51.62,-2.43), (51.88,-2.69,52.14,-2.43), (36.36,-2.17,36.62,-1.91), (36.88,-2.17,37.14,-1.91), (41.61,-2.17,41.87,-1.91), (42.13,-2.17,42.39,-1.91), (46.11,-2.17,46.37,-1.91), (46.63,-2.17,46.89,-1.91), (51.36,-2.17,51.62,-1.91), (51.88,-2.17,52.14,-1.91), (11.77,4.37,12.03,4.63)])
R(b04_ota, via3, [(5.87,-18.205,6.13,-17.945), (7.31,-7.88,7.57,-7.62), (7.83,-7.88,8.09,-7.62), (15.41,-7.88,15.67,-7.62), (15.93,-7.88,16.19,-7.62), (11.77,4.795,12.03,5.055)])
R(b04_ota, metal3, [(37.2,-24.9,37.9,-8.85), (1.75,-23.35,8.4,-22.7), (1.75,-22.7,2.4,-6.75), (7.8,-22.7,8.4,-18.95), (5.55,-20.85,6.45,-14), (28.95,-19.75,35.35,-19.35), (28.95,-19.35,29.4,-15.25), (32.15,-18.9,32.6,-15.25), (26.55,-15.25,29.4,-14.85), (32.15,-15.25,35.15,-14.85), (5.55,-14,27.45,-13.4), (26.7,-13.4,27.45,-10.6), (10.5,-11.95,16.05,-11.45), (15.6,-11.45,16.05,-8.05), (7.5,-11.15,12.45,-10.65), (7.5,-10.65,7.95,-8.05), (26.7,-10.6,35.35,-9.7), (14.35,-10,14.95,-9.65), (10.55,-9.65,14.95,-9.25), (10.55,-9.25,11,-6.35), (14.35,-9.25,14.95,-8.9), (34.35,-8.9,36.35,-8.85), (34.35,-8.85,37.9,-7.25), (7.15,-8.05,8.25,-7.45), (15.25,-8.05,16.35,-7.45), (7.5,-7.45,7.95,-4.9), (15.6,-7.45,16.05,-4.9), (1.75,-6.75,3.1,-5.75), (8.75,-6.7,9.35,-6.35), (8.75,-6.35,11,-5.95), (8.75,-5.95,9.35,-5.6), (6.55,-4.9,7.95,-4.4), (15.6,-4.9,17.05,-4.4), (36.2,-2.8,52.3,-1.8), (11.55,4.3,12.25,5.15)])
R(b04_ota, metal3_pin, [(44.65,-2.65,44.9,-2.35)])
R(b04_ota, metal4, [(5.55,-18.6,6.45,-17.45), (7.15,-8.05,8.25,-7.45), (15.25,-8.05,16.35,-7.45), (11.55,4.65,12.25,5.15)])
R(b04_ota, metal4_pin, [(5.85,-17.65,6.05,-17.55), (15.65,-7.85,15.85,-7.75), (11.8,4.9,11.95,4.95)])
R(b04_ota, lvpwell, [(1.35,-26.3,60.55,-13.65), (26.95,-13.65,60.55,-8.7)])
b04_ota.add(gdstk.Reference(nfet_03v3_ppzgc5, (23.81,-23.89)))
b04_ota.add(gdstk.Reference(nfet_03v3_2m8gy8, (23.81,-21.79)))
b04_ota.add(gdstk.Reference(nfet_03v3_vm6bb4, (11.91,-22.94)))
b04_ota.add(gdstk.Reference(nfet_03v3_g6pham, (8.92,-22.94)))
b04_ota.add(gdstk.Reference(nfet_03v3_vm6bb4, (3.71,-22.94)))
b04_ota.add(gdstk.Reference(nfet_03v3_vm6bb4, (14.16,-22.94)))
b04_ota.add(gdstk.Reference(nfet_03v3_vm6bb4, (5.96,-22.94)))
b04_ota.add(gdstk.Reference(nfet_03v3_ppzgc5, (18.56,-23.89)))
b04_ota.add(gdstk.Reference(nfet_03v3_2m8gy8, (18.56,-21.79)))
b04_ota.add(gdstk.Reference(nfet_03v3_9bm8l2, (19.3,-18.42)))
b04_ota.add(gdstk.Reference(nfet_03v3_yszrfl, (5.01,-18.42)))
b04_ota.add(gdstk.Reference(nfet_03v3_2m8gy8, (44.06,-21.79)))
b04_ota.add(gdstk.Reference(nfet_03v3_ppzgc5, (44.06,-23.89)))
b04_ota.add(gdstk.Reference(nfet_03v3_2m8gy8, (38.81,-21.79)))
b04_ota.add(gdstk.Reference(nfet_03v3_ppzgc5, (38.81,-23.89)))
b04_ota.add(gdstk.Reference(nfet_03v3_5x72ug, (31.32,-23.89)))
b04_ota.add(gdstk.Reference(nfet_03v3_vdkk2u, (31.32,-21.79)))
b04_ota.add(gdstk.Reference(nfet_03v3_9bm8l2, (42.6,-18.42)))
b04_ota.add(gdstk.Reference(nfet_03v3_yszrfl, (56.86,-18.42)))
b04_ota.add(gdstk.Reference(pfet_03v3_3rycv3, (1.72,-9.53)))
b04_ota.add(gdstk.Reference(nfet_03v3_yszrfl, (5.01,-16.17)))
b04_ota.add(gdstk.Reference(pfet_03v3_3rycv3, (22.07,-9.53)))
b04_ota.add(gdstk.Reference(pfet_03v3_7bhpbh, (8.5,-9.53)))
b04_ota.add(gdstk.Reference(pfet_03v3_7bhpbh, (15.3,-9.53)))
b04_ota.add(gdstk.Reference(pfet_03v3_3rycv3, (3.97,-9.53)))
b04_ota.add(gdstk.Reference(pfet_03v3_3rycv3, (19.82,-9.53)))
b04_ota.add(gdstk.Reference(nfet_03v3_9bm8l2, (19.3,-16.17)))
b04_ota.add(gdstk.Reference(nfet_03v3_ppzgc5, (30.76,-12.44)))
b04_ota.add(gdstk.Reference(nfet_03v3_5x72ug, (43.52,-12.44)))
b04_ota.add(gdstk.Reference(nfet_03v3_ppzgc5, (36.01,-12.44)))
b04_ota.add(gdstk.Reference(nfet_03v3_9bm8l2, (42.6,-16.17)))
b04_ota.add(gdstk.Reference(nfet_03v3_ppzgc5, (56.26,-12.44)))
b04_ota.add(gdstk.Reference(nfet_03v3_yszrfl, (56.86,-16.17)))
b04_ota.add(gdstk.Reference(nfet_03v3_ppzgc5, (51.01,-12.44)))
b04_ota.add(gdstk.Reference(pfet_03v3_luvhy6, (1.72,-6.03)))
b04_ota.add(gdstk.Reference(pfet_03v3_luvhy6, (19.82,-6.03)))
b04_ota.add(gdstk.Reference(pfet_03v3_luvhy6, (22.07,-6.03)))
b04_ota.add(gdstk.Reference(pfet_03v3_zcvgy6, (15.3,-6.03)))
b04_ota.add(gdstk.Reference(pfet_03v3_luvhy6, (3.97,-6.035)))
b04_ota.add(gdstk.Reference(pfet_03v3_zcvgy6, (8.5,-6.035)))
b04_ota.add(gdstk.Reference(pfet_03v3_e72zaa, (31.42,-1.38)))
b04_ota.add(gdstk.Reference(pfet_03v3_mw6kh8, (44.23,-1.38)))
b04_ota.add(gdstk.Reference(pfet_03v3_e72zaa, (36.72,-1.38)))
b04_ota.add(gdstk.Reference(pfet_03v3_e72zaa, (57.02,-1.38)))
b04_ota.add(gdstk.Reference(pfet_03v3_e72zaa, (51.72,-1.38)))
b04_ota.add(gdstk.Reference(pfet_03v3_4cd8mr, (11.91,1.6)))
b04_ota.add(gdstk.Reference(pfet_03v3_yeehvg, (31.42,2.29)))
b04_ota.add(gdstk.Reference(pfet_03v3_t4493g, (44.23,2.29)))
b04_ota.add(gdstk.Reference(pfet_03v3_yeehvg, (36.72,2.29)))
b04_ota.add(gdstk.Reference(pfet_03v3_yeehvg, (57.02,2.29)))
b04_ota.add(gdstk.Reference(pfet_03v3_yeehvg, (51.72,2.29)))
b04_ota.add(gdstk.Label('VDD', (25,5.425), layer=34, texttype=10))
b04_ota.add(gdstk.Label('Vbias1', (51.375,-18.5), layer=34, texttype=10))
b04_ota.add(gdstk.Label('GND', (32.85,-26.325), layer=34, texttype=10))
b04_ota.add(gdstk.Label('Vout', (40.575,-8), layer=36, texttype=10))
b04_ota.add(gdstk.Label('Vbias3', (44.775,-2.5), layer=42, texttype=10))
b04_ota.add(gdstk.Label('Vbias0', (11.875,4.925), layer=42, texttype=10))
b04_ota.add(gdstk.Label('Vin-', (7.575,-7.8), layer=42, texttype=10))
b04_ota.add(gdstk.Label('Vin+', (15.75,-7.8), layer=42, texttype=10))
b04_ota.add(gdstk.Label('Vbias2', (5.95,-17.6), layer=46, texttype=10))

lib.write_gds('B04_OTA.gds')
